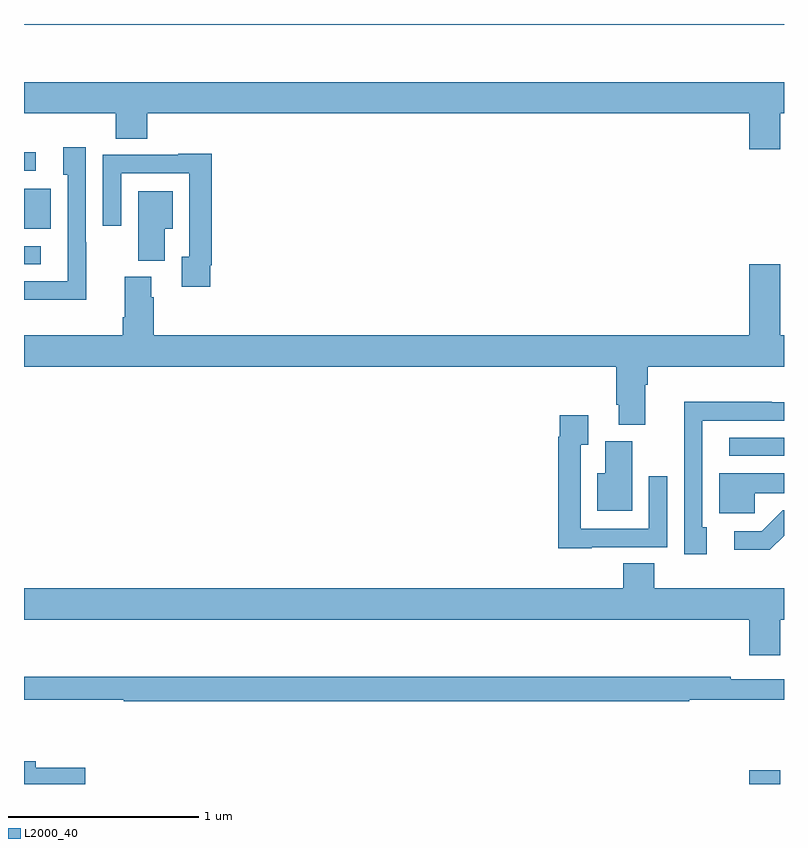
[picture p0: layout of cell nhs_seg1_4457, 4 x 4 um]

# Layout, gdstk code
import gdstk
lib = gdstk.Library(unit=1e-6, precision=1e-09)
def R(c, l, rs):  # rectangles x0, y0, x1, y1
    for r in rs: c.add(gdstk.rectangle(r[:2], r[2:], *l))
def P(c, l, *ps):  # polygons
    for p in ps: c.add(gdstk.Polygon(p, *l))
L2000_40 = (2000, 40)

nhs_seg1_4457 = lib.new_cell('nhs_seg1_4457')
R(nhs_seg1_4457, L2000_40, [(356.816,552.199,356.98,552.271), (356.712,553.926,357,554.022), (353,554.934,353.089,555.03), (353,555.122,353.14,555.333), (353,555.426,353.062,555.524), (353,556.194,357,556.199)])
P(nhs_seg1_4457, L2000_40, [(356.98,555.728),(357,555.728),(357,555.892),(353,555.892),(353,555.728),(353.483,555.728),(353.483,555.595),(353.648,555.595),(353.648,555.728),(356.816,555.728),(356.816,555.54),(356.98,555.54)],
  [(353.327,555.05),(353.325,555.05),(353.325,555.55),(353.207,555.55),(353.207,555.405),(353.229,555.405),(353.229,554.844),(353,554.844),(353,554.747),(353.327,554.747)],
  [(353.98,554.929),(353.987,554.929),(353.987,555.517),(353.811,555.517),(353.811,555.51),(353.415,555.51),(353.415,555.138),(353.511,555.138),(353.511,555.414),(353.871,555.414),(353.871,554.973),(353.831,554.973),(353.831,554.817),(353.98,554.817)],
  [(353.74,555.122),(353.782,555.122),(353.782,555.319),(353.6,555.319),(353.6,554.953),(353.74,554.953)],
  [(356.269,554.3),(356.282,554.3),(356.282,554.396),(357,554.396),(357,554.56),(356.98,554.56),(356.98,554.935),(356.816,554.935),(356.816,554.56),(353.684,554.56),(353.684,554.762),(353.671,554.762),(353.671,554.868),(353.531,554.868),(353.531,554.656),(353.519,554.656),(353.519,554.56),(353,554.56),(353,554.396),(356.117,554.396),(356.117,554.194),(356.129,554.194),(356.129,554.089),(356.269,554.089)],
  [(356.593,553.551),(356.571,553.551),(356.571,554.112),(357,554.112),(357,554.208),(356.936,554.208),(356.936,554.21),(356.474,554.21),(356.474,553.906),(356.475,553.906),(356.475,553.407),(356.593,553.407)],
  [(355.989,553.446),(356.385,553.446),(356.385,553.819),(356.289,553.819),(356.289,553.542),(355.929,553.542),(355.929,553.984),(355.969,553.984),(355.969,554.14),(355.821,554.14),(355.821,554.027),(355.813,554.027),(355.813,553.439),(355.989,553.439)],
  [(356.2,554.004),(356.06,554.004),(356.06,553.834),(356.018,553.834),(356.018,553.637),(356.2,553.637)],
  [(356.847,553.73),(357,553.73),(357,553.834),(356.66,553.834),(356.66,553.623),(356.847,553.623)],
  [(357,553.506),(357,553.641),(356.994,553.641),(356.883,553.53),(356.739,553.53),(356.739,553.433),(356.926,553.433)],
  [(356.98,553.064),(357,553.064),(357,553.228),(356.318,553.228),(356.318,553.361),(356.153,553.361),(356.153,553.228),(353,553.228),(353,553.064),(356.816,553.064),(356.816,552.876),(356.98,552.876)],
  [(356.5,552.642),(357,552.642),(357,552.75),(356.72,552.75),(356.72,552.763),(353,552.763),(353,552.642),(353.524,552.642),(353.524,552.634),(356.5,552.634)],
  [(353.323,552.285),(353.062,552.285),(353.062,552.319),(353,552.319),(353,552.199),(353.323,552.199)])

lib.write_gds('nhs_seg1_4457.gds')
